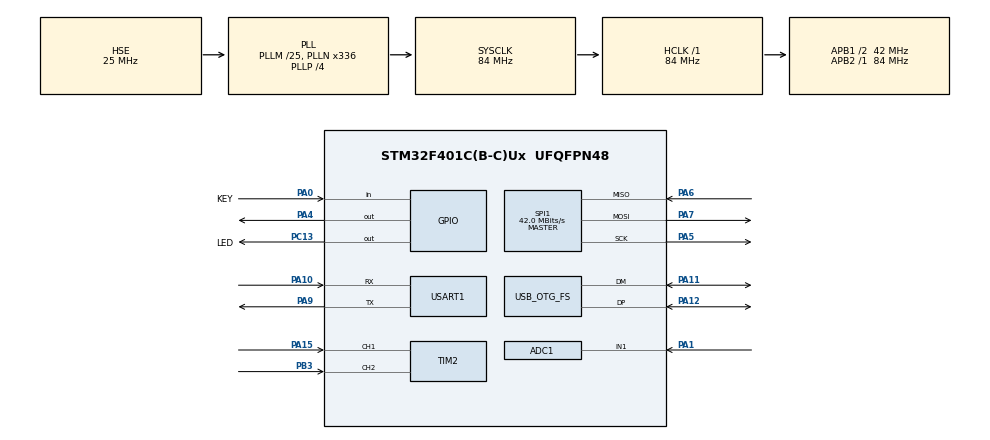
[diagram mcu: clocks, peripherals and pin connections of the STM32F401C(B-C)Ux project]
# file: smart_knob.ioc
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ADC1.Channel-2\#ChannelRegularConversion=ADC_CHANNEL_1
ADC1.ContinuousConvMode=ENABLE
ADC1.EOCSelection=ADC_EOC_SEQ_CONV
ADC1.InjNumberOfConversion=0
ADC1.NbrOfConversion=1
ADC1.NbrOfConversionFlag=1
ADC1.Rank-2\#ChannelRegularConversion=1
ADC1.SamplingTime-2\#ChannelRegularConversion=ADC_SAMPLETIME_480CYCLES
ADC1.ScanConvMode=DISABLE
ADC1.master=1
Dma.Request0=USART1_TX
Dma.USART1_TX.0.Direction=DMA_MEMORY_TO_PERIPH
Dma.USART1_TX.0.FIFOMode=DMA_FIFOMODE_DISABLE
Dma.USART1_TX.0.Instance=DMA2_Stream7
Dma.USART1_TX.0.MemDataAlignment=DMA_MDATAALIGN_BYTE
Dma.USART1_TX.0.MemInc=DMA_MINC_ENABLE
Dma.USART1_TX.0.Mode=DMA_NORMAL
Dma.USART1_TX.0.PeriphDataAlignment=DMA_PDATAALIGN_BYTE
Dma.USART1_TX.0.PeriphInc=DMA_PINC_DISABLE
Dma.USART1_TX.0.Priority=DMA_PRIORITY_LOW
Mcu.Family=STM32F4
Mcu.Name=STM32F401C(B-C)Ux
Mcu.Package=UFQFPN48
Mcu.UserConstants=MY_STORAGE_BLK_NBR,500;MY_STORAGE_BLK_SIZ,4096
NVIC.DMA2_Stream7_IRQn=true\:0\:0\:false\:false\:true\:false\:true\:true
NVIC.OTG_FS_IRQn=true\:3\:0\:true\:false\:true\:false\:true\:true
NVIC.PriorityGroup=NVIC_PRIORITYGROUP_4
NVIC.TIM1_TRG_COM_TIM11_IRQn=true\:0\:0\:false\:false\:true\:true\:true\:true
NVIC.USART1_IRQn=true\:0\:0\:true\:false\:true\:false\:true\:true
PA0-WKUP.GPIO_Label=KEY
PA0-WKUP.GPIO_PuPd=GPIO_PULLUP
PA0-WKUP.Signal=GPIO_Input
PA1.Signal=ADCx_IN1
PA10.Mode=Asynchronous
PA10.Signal=USART1_RX
PA11.Mode=Device_Only
PA11.Signal=USB_OTG_FS_DM
PA12.Mode=Device_Only
PA12.Signal=USB_OTG_FS_DP
PA13.Mode=Serial_Wire
PA13.Signal=SYS_JTMS-SWDIO
PA14.Mode=Serial_Wire
PA14.Signal=SYS_JTCK-SWCLK
PA15.Signal=S_TIM2_CH1_ETR
PA4.Signal=GPIO_Output
PA5.GPIO_PuPd=GPIO_NOPULL
PA5.Mode=Full_Duplex_Master
PA5.Signal=SPI1_SCK
PA6.GPIO_PuPd=GPIO_NOPULL
PA6.Mode=Full_Duplex_Master
PA6.Signal=SPI1_MISO
PA7.GPIO_PuPd=GPIO_NOPULL
PA7.Mode=Full_Duplex_Master
PA7.Signal=SPI1_MOSI
PA9.Mode=Asynchronous
PA9.Signal=USART1_TX
PB3.Signal=S_TIM2_CH2
PC13-ANTI_TAMP.GPIO_Label=LED
PC13-ANTI_TAMP.Signal=GPIO_Output
PH0\ -\ OSC_IN.Mode=HSE-External-Oscillator
PH0\ -\ OSC_IN.Signal=RCC_OSC_IN
PH1\ -\ OSC_OUT.Mode=HSE-External-Oscillator
PH1\ -\ OSC_OUT.Signal=RCC_OSC_OUT
ProjectManager.HeapSize=0x200
ProjectManager.StackSize=0x400
ProjectManager.TargetToolchain=CMake
RCC.48MHZClocksFreq_Value=48000000
RCC.AHBFreq_Value=84000000
RCC.APB1CLKDivider=RCC_HCLK_DIV2
RCC.APB1Freq_Value=42000000
RCC.APB1TimFreq_Value=84000000
RCC.APB2Freq_Value=84000000
RCC.APB2TimFreq_Value=84000000
RCC.CSICalibrationValue=32
RCC.CortexFreq_Value=84000000
RCC.HCLKFreq_Value=84000000
RCC.HSE_Timout=100
RCC.HSE_VALUE=25000000
RCC.HSI_VALUE=16000000
RCC.LSE_VALUE=32768
RCC.PLL1_VCI_Range=RCC_PLL1VCIRANGE_3
RCC.PLL1_VCO_SEL=RCC_PLL1VCOWIDE
RCC.PLL2FRACN=0
RCC.PLL2_VCI_Range=RCC_PLL2VCIRANGE_3
RCC.PLL2_VCO_SEL=RCC_PLL2VCOWIDE
RCC.PLL3FRACN=0
RCC.PLL3_VCI_Range=RCC_PLL3VCIRANGE_3
RCC.PLL3_VCO_SEL=RCC_PLL3VCOWIDE
RCC.PLLFRACN=0
RCC.PLLM=25
RCC.PLLN=336
RCC.PLLP=RCC_PLLP_DIV4
RCC.PLLQ=7
RCC.ProductRev=revV
RCC.SYSCLKFreq_VALUE=84000000
RCC.SYSCLKSource=RCC_SYSCLKSOURCE_PLLCLK
RCC.VCOOutputFreq_Value=336000000
SH.ADCx_IN1.0=ADC1_IN1,IN1
SH.S_TIM2_CH1_ETR.0=TIM2_CH1,Encoder_Interface
SH.S_TIM2_CH2.0=TIM2_CH2,Encoder_Interface
SPI1.BaudRatePrescaler=SPI_BAUDRATEPRESCALER_2
SPI1.CLKPolarity=SPI_POLARITY_LOW
SPI1.CalculateBaudRate=42.0 MBits/s
SPI1.Direction=SPI_DIRECTION_2LINES
SPI1.Mode=SPI_MODE_MASTER
SPI1.VirtualType=VM_MASTER
TIM11.AutoReloadPreload=TIM_AUTORELOAD_PRELOAD_ENABLE
TIM11.Period=42000-1
TIM11.Prescaler=2000-1
USART1.VirtualMode=VM_ASYNC
USB_DEVICE.CLASS_NAME_FS=MSC
USB_DEVICE.MSC_MEDIA_PACKET=4096
USB_DEVICE.PRODUCT_STRING_MSC_FS=STM32 Storage Miki
USB_DEVICE.USBD_MAX_NUM_CONFIGURATION=1
USB_DEVICE.USBD_MAX_NUM_INTERFACES=1
USB_DEVICE.VirtualMode=Msc
USB_DEVICE.VirtualModeFS=Msc_FS
USB_OTG_FS.VirtualMode=Device_Only
VP_TIM11_VS_ClockSourceINT.Mode=Enable_Timer
VP_USB_DEVICE_VS_USB_DEVICE_MSC_FS.Mode=MSC_FS
VP_WWDG_VS_WWDG.Mode=WWDG_Activate
WWDG.Counter=127
WWDG.Prescaler=WWDG_PRESCALER_8
WWDG.Window=127
board=custom

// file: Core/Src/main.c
/* USER CODE BEGIN Header */
/**
  ******************************************************************************
  * @file           : main.c
  * @brief          : Main program body
  ******************************************************************************
  * @attention
  *
  * Copyright (c) 2024 STMicroelectronics.
  * All rights reserved.
  *
  * This software is licensed under terms that can be found in the LICENSE file
  * in the root directory of this software component.
  * If no LICENSE file comes with this software, it is provided AS-IS.
  *
  ******************************************************************************
  */
/* USER CODE END Header */
#include "main.h"
#include "adc.h"
#include "dma.h"
#include "spi.h"
#include "tim.h"
#include "usart.h"
#include "usb_device.h"
#include "wwdg.h"
#include "gpio.h"

/* USER CODE BEGIN Includes */
#include "w25qxx.h"
#include <stdio.h>

/* USER CODE END Includes */

void SystemClock_Config(void);

int main(void)
{

  /* MCU Configuration--------------------------------------------------------*/

  /* Reset of all peripherals, Initializes the Flash interface and the Systick. */
  HAL_Init();

  /* Configure the system clock */
  SystemClock_Config();

  /* Initialize all configured peripherals */
  MX_GPIO_Init();
  MX_DMA_Init();
  MX_USB_DEVICE_Init();
  MX_SPI1_Init();
  MX_TIM11_Init();
  MX_TIM2_Init();
  MX_USART1_UART_Init();
  MX_ADC1_Init();
  MX_WWDG_Init();
  /* USER CODE BEGIN 2 */

  char buffer[20]; // Rezerviši dovoljno mesta za string koji ćeš generisati

  const char myInfo[] =
        "\n"
        "/--------------------------------------\\\n"
        "| Smart Button Controller V0.1 2024    |\n"
        "| https://forum.yu3ma.net              |\n"
        "| Type 'h' for help                    |\n"
        "\\--------------------------------------/\n";
  const char myHelp[] =
        "\n"
        "/--------------------------------------\\\n"
        "| Smart Button Controller V0.1         |\n"
        "\\--------------------------------------/\n"
        "Command overview \n"
        "h H        - Help\n"
        "D          - Dump vars\n"
        "d          - Dump vars and names\n"
        "i I        - Machine Info\n"
        "c          - Main loop counts per 100ms\n"
        "x          - Dump NVRAM in RAW mode\n"
        "X          - Dump NVRAM in HEX mode\n"
        "r          - Read USART3 diag data\n"
        "R          - Clear USART3 diag data\n"
        "q          - Set QUICK BOOT flag\n"
        "+          - Increment menu/value\n"
        "-          - Decrement menu/value\n"
        "e          - Toggle view/edit mode\n"
        "s          - Toggle start/stop mode\n"
        "b          - Turn off boot info\n"
        "B          - Turn on boot info\n"
        "~          - Reset controller\n"
        "r[xxxx]    - Read MCU register at ADR\n"
        "\n";
int adc_value;
HAL_ADC_Start(&hadc1);
  /* USER CODE END 2 */

  /* Infinite loop */
  while (1)
  {

    /* USER CODE BEGIN 3 */
    HAL_UART_Transmit_DMA(&huart1, myInfo, sizeof myInfo-1);
	while (1){
		//for (int x = 0; x < 1000000; x++) {GPIOC->BSRR=GPIO_BSRR_BS13;}
		//for (int x = 0; x < 1000000; x++) {GPIOC->BSRR=GPIO_BSRR_BR13;}
		//CDC_Transmit_FS (buff, sizeof buff);
		//HAL_UART_Transmit(&huart1, buff, sizeof buff, 10);

		if (UART_KBD_rx_ready==1) {
			UART_KBD_rx_ready=0;
			//HAL_UART_Transmit_DMA(&huart1, UART_KBD_RX_buff, UART_KBD_RX_packet_len);
			//HAL_UART_Transmit(&huart1, UART_KBD_RX_buff, UART_KBD_RX_packet_len, 10);
			switch (UART_KBD_RX_buff[0]) {
				case 'h':
				case 'H':
					HAL_UART_Transmit_DMA(&huart1, myHelp, sizeof myHelp-1);
				break;
				case '~': //reset controller
                    NVIC_SystemReset();
                break;
                case 'r': //read ADC
                    adc_value = HAL_ADC_GetValue(&hadc1);
                    sprintf(buffer, "Broj=%hu\n", adc_value); // Formatiraj broj i snimi rezultat u bafer
					HAL_UART_Transmit_DMA(&huart1, buffer, strlen(buffer));
                break;
			}

		}
		if (!(GPIOA->IDR & GPIO_IDR_ID0 !=0)) {
			adc_value = HAL_ADC_GetValue(&hadc1);
			sprintf(buffer, "Broj=%hu\n", adc_value); // Formatiraj broj i snimi rezultat u bafer
			HAL_UART_Transmit_DMA(&huart1, buffer, strlen(buffer));
		}

		//HAL_Delay(10);
	    HAL_WWDG_Refresh(&hwwdg);
		//GPIOC->ODR ^= (1 << 13);
	}
  }
  /* USER CODE END 3 */
}

void SystemClock_Config(void)
{
  RCC_OscInitTypeDef RCC_OscInitStruct = {0};
  RCC_ClkInitTypeDef RCC_ClkInitStruct = {0};

  /** Configure the main internal regulator output voltage
  */
  __HAL_RCC_PWR_CLK_ENABLE();
  __HAL_PWR_VOLTAGESCALING_CONFIG(PWR_REGULATOR_VOLTAGE_SCALE2);

  /** Initializes the RCC Oscillators according to the specified parameters
  * in the RCC_OscInitTypeDef structure.
  */
  RCC_OscInitStruct.OscillatorType = RCC_OSCILLATORTYPE_HSE;
  RCC_OscInitStruct.HSEState = RCC_HSE_ON;
  RCC_OscInitStruct.PLL.PLLState = RCC_PLL_ON;
  RCC_OscInitStruct.PLL.PLLSource = RCC_PLLSOURCE_HSE;
  RCC_OscInitStruct.PLL.PLLM = 25;
  RCC_OscInitStruct.PLL.PLLN = 336;
  RCC_OscInitStruct.PLL.PLLP = RCC_PLLP_DIV4;
  RCC_OscInitStruct.PLL.PLLQ = 7;
  if (HAL_RCC_OscConfig(&RCC_OscInitStruct) != HAL_OK)
  {
    Error_Handler();
  }

  /** Initializes the CPU, AHB and APB buses clocks
  */
  RCC_ClkInitStruct.ClockType = RCC_CLOCKTYPE_HCLK|RCC_CLOCKTYPE_SYSCLK
                              |RCC_CLOCKTYPE_PCLK1|RCC_CLOCKTYPE_PCLK2;
  RCC_ClkInitStruct.SYSCLKSource = RCC_SYSCLKSOURCE_PLLCLK;
  RCC_ClkInitStruct.AHBCLKDivider = RCC_SYSCLK_DIV1;
  RCC_ClkInitStruct.APB1CLKDivider = RCC_HCLK_DIV2;
  RCC_ClkInitStruct.APB2CLKDivider = RCC_HCLK_DIV1;

  if (HAL_RCC_ClockConfig(&RCC_ClkInitStruct, FLASH_LATENCY_2) != HAL_OK)
  {
    Error_Handler();
  }
}

void Error_Handler(void)
{
  __disable_irq();
  while (1)
  {
  }
}
